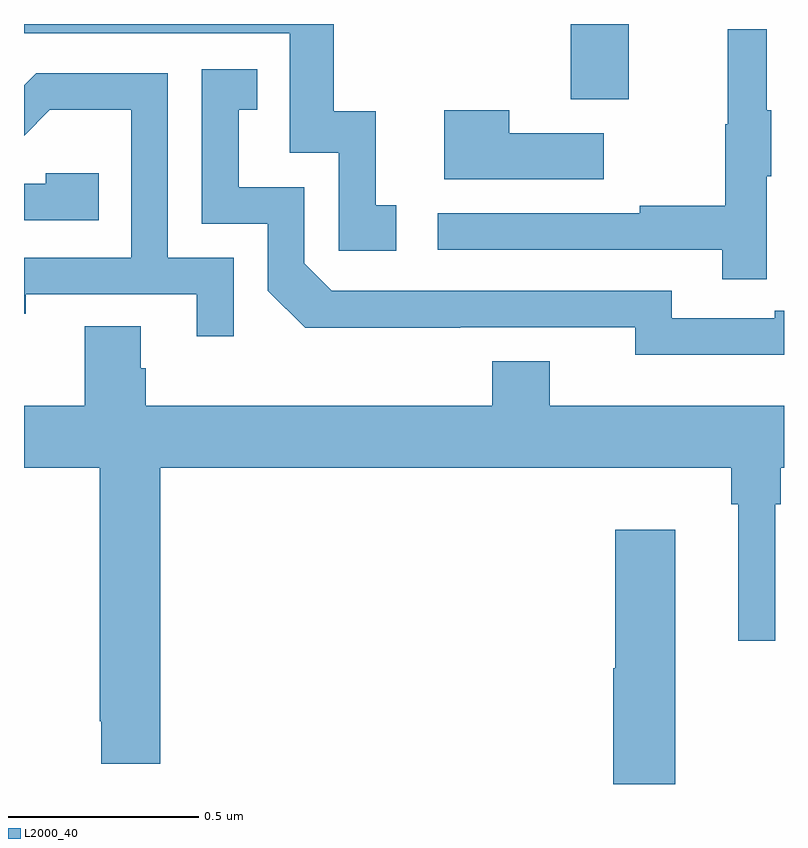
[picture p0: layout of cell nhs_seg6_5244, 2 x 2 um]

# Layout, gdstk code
import gdstk
lib = gdstk.Library(unit=1e-6, precision=1e-09)
def R(c, l, rs):  # rectangles x0, y0, x1, y1
    for r in rs: c.add(gdstk.rectangle(r[:2], r[2:], *l))
def P(c, l, *ps):  # polygons
    for p in ps: c.add(gdstk.Polygon(p, *l))
L2000_40 = (2000, 40)

nhs_seg6_5244 = lib.new_cell('nhs_seg6_5244')
R(nhs_seg6_5244, L2000_40, [(181.439,952.302,181.591,952.5)])
P(nhs_seg6_5244, L2000_40, [(180.979,952.023),(180.926,952.023),(180.926,952.27),(180.815,952.27),(180.815,952.5),(180,952.5),(180,952.476),(180.699,952.476),(180.699,952.161),(180.828,952.161),(180.828,951.903),(180.979,951.903)],
  [(181.955,952.099),(181.966,952.099),(181.966,952.273),(181.955,952.273),(181.955,952.486),(181.852,952.486),(181.852,952.236),(181.845,952.236),(181.845,952.022),(181.621,952.022),(181.621,952.002),(181.089,952.002),(181.089,951.906),(181.837,951.906),(181.837,951.828),(181.955,951.828)],
  [(181.976,951.63),(182,951.63),(182,951.746),(181.976,951.746),(181.976,951.726),(181.704,951.726),(181.704,951.798),(180.81,951.798),(180.738,951.87),(180.738,952.071),(180.565,952.071),(180.565,952.275),(180.614,952.275),(180.614,952.381),(180.468,952.381),(180.468,951.975),(180.642,951.975),(180.642,951.798),(180.74,951.701),(181.148,951.701),(181.148,951.702),(181.608,951.702),(181.608,951.629),(181.976,951.629)],
  [(180.552,951.885),(180.378,951.885),(180.378,952.371),(180.032,952.371),(180,952.339),(180,952.206),(180.068,952.274),(180.282,952.274),(180.282,951.885),(180,951.885),(180,951.738),(180.004,951.738),(180.004,951.789),(180.455,951.789),(180.455,951.678),(180.552,951.678)],
  [(181.525,952.213),(181.277,952.213),(181.277,952.273),(181.106,952.273),(181.106,952.091),(181.525,952.091)],
  [(180.197,952.107),(180.057,952.107),(180.057,952.08),(180,952.08),(180,951.984),(180.197,951.984)],
  [(180.359,951.332),(181.861,951.332),(181.861,951.236),(181.88,951.236),(181.88,950.877),(181.977,950.877),(181.977,951.236),(181.991,951.236),(181.991,951.332),(182,951.332),(182,951.496),(181.384,951.496),(181.384,951.613),(181.232,951.613),(181.232,951.496),(180.32,951.496),(180.32,951.594),(180.307,951.594),(180.307,951.704),(180.16,951.704),(180.16,951.496),(180,951.496),(180,951.332),(180.199,951.332),(180.199,950.665),(180.203,950.665),(180.203,950.553),(180.359,950.553)],
  [(181.714,951.169),(181.556,951.169),(181.556,950.805),(181.55,950.805),(181.55,950.5),(181.714,950.5)])

lib.write_gds('nhs_seg6_5244.gds')
